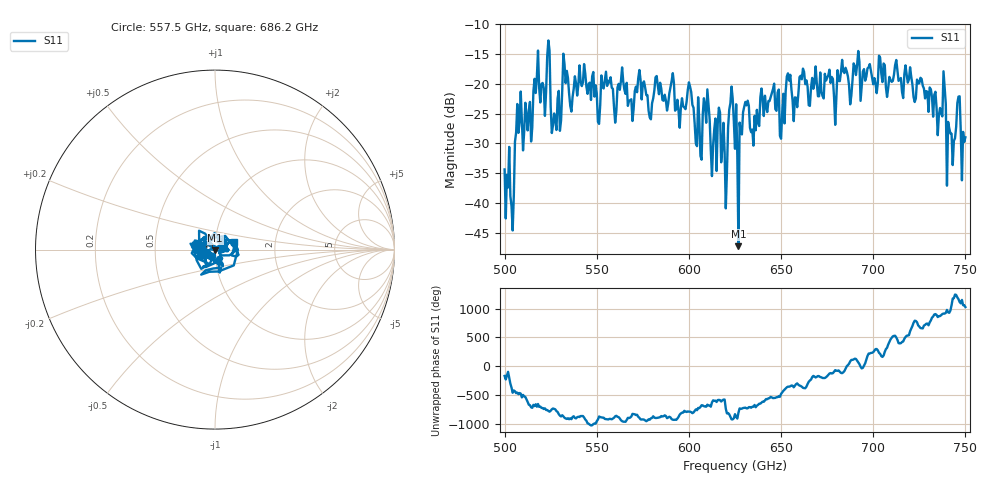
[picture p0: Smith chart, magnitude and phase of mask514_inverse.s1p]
!Created with skrf (http://scikit-rf.org).
# GHz S MA R 50.0
!freq magS11 angS11
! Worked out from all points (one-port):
!   401 points, 500 GHz to 750 GHz, reference 50 ohm
!   lowest |S11| = -47.3 dB at 626.9 GHz (marker M1), VSWR 1.01, Z = 50 - j0.431 ohm
!   |S11| at or under -10 dB: start of sweep to end of sweep
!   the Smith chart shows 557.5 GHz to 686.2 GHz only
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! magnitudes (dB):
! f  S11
! 500 GHz  -34.4
! 504.4 GHz  -44.6
! 507.5 GHz  -28.2
! 513.8 GHz  -23.0
! 516.9 GHz  -21.5
! 523.8 GHz  -12.7
! 526.9 GHz  -25.0
! 531.2 GHz  -21.3
! 562.5 GHz  -21.0
! 579.4 GHz  -25.9
! 590.6 GHz  -19.5
! 593.8 GHz  -22.7
! 600.6 GHz  -20.5
! 605.6 GHz  -26.2
! 609.4 GHz  -26.5
! 619.4 GHz  -31.5
! 622.5 GHz  -23.2
! 625 GHz  -30.9
! 626.9 GHz  -47.3
! 631.2 GHz  -23.6
! 635 GHz  -30.4
! 640 GHz  -22.8
! 650.6 GHz  -24.7
! 653.8 GHz  -18.2
! 656.2 GHz  -22.8
! 687.5 GHz  -23.4
! 718.8 GHz  -19.8
! 750 GHz  -29.0
